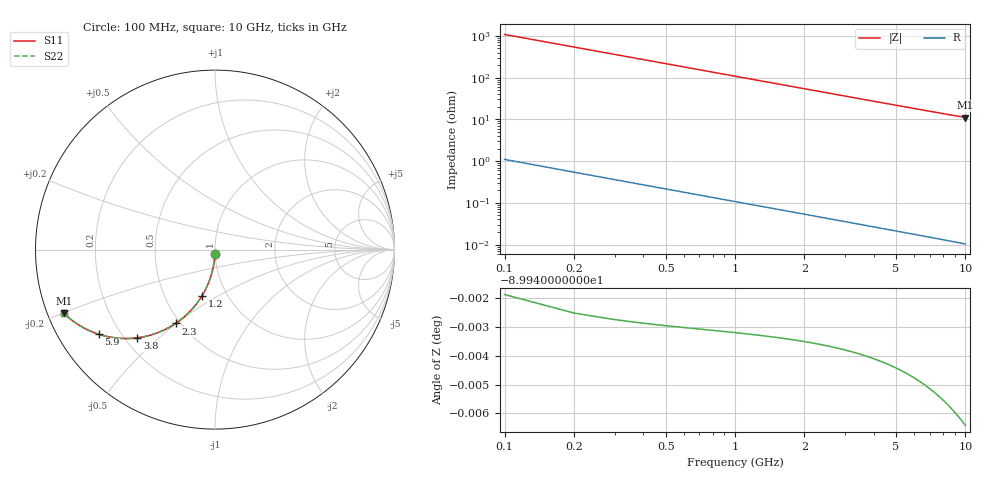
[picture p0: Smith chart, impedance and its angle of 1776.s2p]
# Hz S RI R 50.00
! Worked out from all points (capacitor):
!   100 points, 100 MHz to 10 GHz, reference 50 ohm
!   read as one part in shunt: C = 1.47 pF near 100 MHz
!   lowest |Z| = 11.1 ohm at 10 GHz (marker M1)
!   S11 on the Smith chart (normalised r, x): 100 MHz: 1.00, -0.05; 1.2 GHz: 0.77, -0.42; 2.3 GHz: 0.47, -0.50; 3.8 GHz: 0.25, -0.43; 5.9 GHz: 0.12, -0.32; 10 GHz: 0.05, -0.20
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1e8  -0.00053 -0.023  0.9994 -0.0231  0.9994 -0.0231  -0.00053 -0.023
2e8  -0.00214 -0.0458  0.9978 -0.0462  0.9978 -0.0462  -0.00214 -0.0458
3e8  -0.00481 -0.0686  0.9951 -0.0691  0.9951 -0.0691  -0.00481 -0.0686
4e8  -0.0085 -0.0911  0.9914 -0.0918  0.9914 -0.0918  -0.0085 -0.0911
5e8  -0.0132 -0.1133  0.9867 -0.1142  0.9867 -0.1142  -0.0132 -0.1133
6e8  -0.0189 -0.1352  0.9811 -0.1363  0.9811 -0.1363  -0.0189 -0.1352
7e8  -0.0255 -0.1566  0.9744 -0.1579  0.9744 -0.1579  -0.0255 -0.1566
9e8  -0.0414 -0.198  0.9585 -0.1997  0.9585 -0.1997  -0.0414 -0.198
1.2e9  -0.0713 -0.2557  0.9287 -0.2579  0.9287 -0.2579  -0.0713 -0.2557
1.5e9  -0.107 -0.3072  0.893 -0.31  0.893 -0.31  -0.107 -0.3072
1.8e9  -0.147 -0.352  0.8529 -0.3553  0.8529 -0.3553  -0.147 -0.352
2.3e9  -0.2194 -0.4112  0.7806 -0.4154  0.7806 -0.4154  -0.2194 -0.4112
2.8e9  -0.2938 -0.4525  0.7061 -0.4576  0.7061 -0.4576  -0.2938 -0.4525
3.4e9  -0.3799 -0.4818  0.62 -0.488  0.62 -0.488  -0.3799 -0.4818
3.8e9  -0.4334 -0.4916  0.5666 -0.4985  0.5666 -0.4985  -0.4334 -0.4916
4.4e9  -0.506 -0.4954  0.4939 -0.5035  0.4939 -0.5035  -0.506 -0.4954
5.1e9  -0.5789 -0.4885  0.421 -0.4979  0.421 -0.4979  -0.5789 -0.4885
5.9e9  -0.6477 -0.4717  0.3522 -0.4826  0.3522 -0.4826  -0.6477 -0.4717
6.7e9  -0.7032 -0.4501  0.2967 -0.4626  0.2967 -0.4626  -0.7032 -0.4501
7.5e9  -0.748 -0.4266  0.2519 -0.4406  0.2519 -0.4406  -0.748 -0.4266
8.4e9  -0.7882 -0.4001  0.2116 -0.4159  0.2116 -0.4159  -0.7882 -0.4001
1e10  -0.8407 -0.3559  0.1591 -0.3748  0.1591 -0.3748  -0.8407 -0.3559
